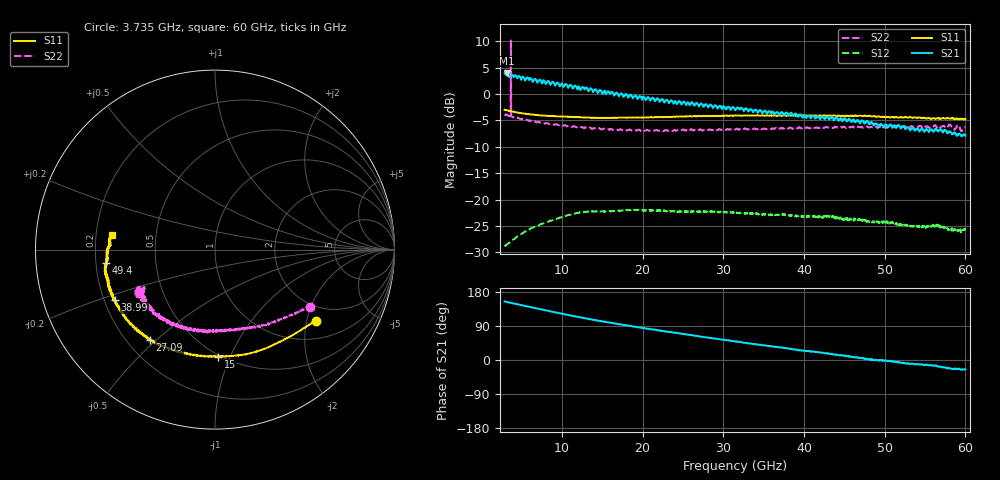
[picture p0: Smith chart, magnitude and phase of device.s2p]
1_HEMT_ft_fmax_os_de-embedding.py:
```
import numpy as np
import skrf as rf
import matplotlib.pyplot as plt
import os
from matplotlib.ticker import LogLocator, AutoMinorLocator
from skrf.calibration import OpenShort

# --- User settings ---
# --- Read S-parameters files ---

FET_device_file = 'device.s2p'   # Touchstone file of FET with CPW
FET_open_file = 'open.s2p'     # Touchstone file
FET_short_file = 'short.s2p'   # Touchstone file
# FET_thru_file = 'R2706-S1_RFG5V2_ONW_thru.s2p'         # Touchstone file
eps = 1e-12                                             # small floor to avoid log10(0)


def load_networks(device_file, open_file, short_file):
    fet_cpw = rf.Network(device_file)
    open_dummy = rf.Network(open_file)
    short_dummy = rf.Network(short_file)
    return fet_cpw, open_dummy, short_dummy


def deembed_open_short(fet_cpw, open_dummy, short_dummy):
    dm = OpenShort(dummy_open=open_dummy, dummy_short=short_dummy)
    return dm.deembed(fet_cpw)


def save_deembedded_network(network, device_file, suffix='_OSDeemb'):
    deembedded_stem = os.path.splitext(device_file)[0] + suffix
    network.write_touchstone(deembedded_stem)
    print(f"Saved de-embedded S2P: {deembedded_stem}.s2p")
    return deembedded_stem


def set_auto_title(ax, title_text, min_size=8, max_size=14, y=0.995, width_fraction=0.95):
    fig = ax.figure
    ax.set_title('')
    title_obj = fig.suptitle(title_text, fontsize=max_size, y=y)
    fig.canvas.draw()
    renderer = fig.canvas.get_renderer()
    available_width = fig.bbox.width * width_fraction

    font_size = float(max_size)
    while font_size > min_size:
        title_width = title_obj.get_window_extent(renderer=renderer).width
        if title_width <= available_width:
            break
        font_size -= 0.5
        title_obj.set_fontsize(font_size)
        fig.canvas.draw()

    return title_obj


# --- Function to analyze S-parameters, calculate ft and fmax, and plot results ---
def analyze_sparameters(network, title_prefix):
    """
    Performs S-parameter analysis on a given skrf Network object,
    calculates ft and fmax, and plots the results.

    Args:
        network (skrf.Network): The network object to analyze.
        title_prefix (str): A prefix for the plot titles and filenames.
    """
    freq = network.f                # frequency array in Hz
    # S-parameters: network.s shape = (n_freqs, 2, 2)
    s11 = network.s[:, 0, 0]
    s12 = network.s[:, 0, 1]
    s21 = network.s[:, 1, 0]
    s22 = network.s[:, 1, 1]

    # --- Convert S -> H parameters and compute |h21| in dB ---
    h_para = network.h              # returns (n_freqs, 2, 2) array of h-params
    h21 = h_para[:, 1, 0]
    abs_h21 = np.abs(h21)
    mag_h21 = 20.0 * np.log10(np.maximum(abs_h21, eps))

    # --- John Rollett stability factor K ---
    k_num = 1.0 - (np.abs(s11) ** 2) - (np.abs(s22) ** 2) + (np.abs(s11 * s22 - s12 * s21) ** 2)
    k_den = 2.0 * np.abs(s12 * s21)
    # avoid division by zero
    k_den_safe = np.where(k_den == 0, eps, k_den)
    k = k_num / k_den_safe

    # --- Mason's Unilateral Gain U ---
    # u_num = |(s21/s12) - 1|^2
    # u_den = 2*k*|s21/s12| - 2*Re(s21/s12)
    ratio = np.zeros_like(s21, dtype=complex)
    # avoid division by zero for s12
    s12_safe = np.where(np.abs(s12) < eps, eps + 0j, s12)
    ratio = s21 / s12_safe

    u_num = (np.abs(ratio - 1.0) ** 2)
    u_den = 2.0 * k * np.abs(ratio) - 2.0 * np.real(ratio)
    # avoid zeros or negative denominators that would blow up; keep safe floor
    u_den_safe = np.where(np.abs(u_den) < eps, eps, u_den)
    u = u_num / u_den_safe
    u_db = 10.0 * np.log10(np.maximum(u, eps))

    # --- Maximum Stable Gain (MSG) and Maximum Available Gain (MAG) ---
    msg = np.abs(ratio)

    # compute mag only where k >= 1 (to avoid sqrt of negative); else set nan
    mag = np.full_like(msg, np.nan)
    k_ge1 = k >= 1.0
    # compute using safe sqrt for k^2 - 1 (should be >= 0 here)
    sqrt_term = np.zeros_like(k)
    sqrt_term[k_ge1] = np.sqrt(k[k_ge1] ** 2 - 1.0)
    mag[k_ge1] = (np.abs(ratio[k_ge1])) * (k[k_ge1] - sqrt_term[k_ge1])

    # --- Choose MSG or MAG depending on k (same logic as MATLAB) ---
    msg_mag = np.where(k < 1.0, msg, mag)
    # if any entries are nan or <=0, clip to eps so log10 is defined
    msg_mag_db = 10.0 * np.log10(np.maximum(np.real(msg_mag), eps))

    # --- Fit a straight line to mag_h21 and find the x-intercept ---
    # Use a logarithmic scale for frequency for the fit
    log_freq = np.log10(freq)

    # Filter data for fitting within the specified frequency range (0.5 GHz to 3 GHz)
    freq_min_h21 = 0.5e9  # 0.5 GHz
    freq_max_h21 = 20.0e9  # 3 GHz
    freq_for_fit_h21 = freq[(freq >= freq_min_h21) & (freq <= freq_max_h21)]
    mag_h21_for_fit = mag_h21[(freq >= freq_min_h21) & (freq <= freq_max_h21)]
    log_freq_for_fit_h21 = np.log10(freq_for_fit_h21)

    # Fit a first-degree polynomial (straight line) to log_freq and mag_h21
    # polyfit returns [slope, intercept]
    slope_h21, intercept_h21 = np.polyfit(log_freq_for_fit_h21, mag_h21_for_fit, 1)

    # The equation of the line is y = slope * x + intercept
    # 0 = slope * x + intercept
    # x = -intercept / slope
    # Convert x from log10(freq) back to freq
    ft = 10**(-intercept_h21 / slope_h21)

    # Print the result for h21
    print(f"ft (|h21|) for {title_prefix}: {ft:.2e} Hz")

    # --- Fit a straight line to msg_mag_db and find the x-intercept ---
    # Filter msg_mag_db for fitting within the specified frequency range (8 GHz to 20 GHz)
    freq_min_msg_mag = 20.0e9  # 8 GHz
    freq_max_msg_mag = 40.0e9  # 20 GHz
    freq_for_fit_msg_mag = freq[(freq >= freq_min_msg_mag) & (freq <= freq_max_msg_mag)]
    msg_mag_db_for_fit = msg_mag_db[(freq >= freq_min_msg_mag) & (freq <= freq_max_msg_mag)]
    log_freq_for_fit_msg_mag = np.log10(freq_for_fit_msg_mag)

    # Fit a first-degree polynomial (straight line) to log_freq and msg_mag_db
    slope_msg_mag, intercept_msg_mag = np.polyfit(log_freq_for_fit_msg_mag, msg_mag_db_for_fit, 1)

    # Calculate the x-intercept for msg_mag_db
    fmax = 10**(-intercept_msg_mag / slope_msg_mag)

    # Print the result for msg_mag_db
    print(f"fmax (MSG/MAG) for {title_prefix}: {fmax:.2e} Hz")

    # --- Calculate y-values of the fitted line for |h21| for plotting ---
    fitted_line_h21_y = slope_h21 * log_freq + intercept_h21

    # --- Calculate y-values of the fitted line for MSG/MAG for plotting ---
    fitted_line_msg_mag_y = slope_msg_mag * log_freq + intercept_msg_mag

    # --- Plot: |h21|, U, MSG/MAG ---
    plt.figure(figsize=(5, 6))
    plt.semilogx(freq, mag_h21, linewidth=3, label='|h21| (dB)')
    plt.semilogx(freq, u_db, linewidth=3, label='U (dB)')
    plt.semilogx(freq, msg_mag_db, linewidth=3, label='MSG/MAG (dB)')
    plt.semilogx(freq, fitted_line_h21_y, '--', color='red', label='Fitted |h21| Line (0.5-3 GHz)')  # Add the fitted line for |h21|
    plt.semilogx(freq, fitted_line_msg_mag_y, '--', color='purple', label='Fitted MSG/MAG Line (8-20 GHz)')  # Add the fitted line for MSG/MAG with updated label
    plt.legend()
    ax_gain = plt.gca()
    ax_gain.minorticks_on()
    ax_gain.xaxis.set_major_locator(LogLocator(base=10.0, numticks=12))
    ax_gain.xaxis.set_minor_locator(LogLocator(base=10.0, subs=np.arange(2, 10) * 0.1, numticks=100))
    ax_gain.yaxis.set_minor_locator(AutoMinorLocator(5))
    ax_gain.grid(True, which='major', linestyle='--', linewidth=0.6)
    ax_gain.grid(True, which='minor', linestyle=':', linewidth=0.5, alpha=0.7)
    set_auto_title(ax_gain, f'{title_prefix} - Gain')
    plt.xlabel('Frequency (Hz)')
    plt.ylabel('Gain (dB)')
    plt.xlim([1e8, 1e11])
    plt.ylim([0, 50])
    plt.tight_layout(rect=[0.0, 0.0, 1.0, 0.97])
    plt.savefig(f'{title_prefix}_FtFmax.jpg', dpi=300)
    plt.show()

    # --- Plot: stability factor k ---
    plt.figure(figsize=(5, 6))
    plt.semilogx(freq, k, linewidth=2, label='k')
    plt.legend()
    plt.grid(True, which='both', linestyle='--', linewidth=0.5)
    ax_k = plt.gca()
    set_auto_title(ax_k, f'{title_prefix} - Stability Factor')
    plt.xlabel('Frequency (Hz)')
    plt.ylabel('Stability (k)')
    plt.xlim([1e8, 1e11])
    plt.ylim([0, 5])
    plt.tight_layout(rect=[0.0, 0.0, 1.0, 0.97])
    plt.savefig(f'{title_prefix}_K.jpg', dpi=300)
    plt.show()

def main():
    fet_cpw, open_dummy, short_dummy = load_networks(FET_device_file, FET_open_file, FET_short_file)
    fet_os = deembed_open_short(fet_cpw, open_dummy, short_dummy)
    save_deembedded_network(fet_os, FET_device_file, suffix='_OSDeemb')

    # Analyze and plot for FET_CPW (before de-embedding)
    analyze_sparameters(fet_cpw, FET_device_file + '_CPW')

    # Analyze and plot for FET_OS (after Open-Short de-embedding)
    analyze_sparameters(fet_os, FET_device_file + '_OSDeemb')


if __name__ == '__main__':
    main()
```
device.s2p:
!Correction: S11(Full 2 Port(1,2))
!S21(Full 2 Port(1,2))
!S12(Full 2 Port(1,2))
!S22(Full 2 Port(1,2))
!S2P File: Measurements: S11, S21, S12, S22:
# Hz S  RI  R 50
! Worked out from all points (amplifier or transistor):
!   1536 points, 2.917 GHz to 60 GHz, reference 50 ohm
!   highest |S21| = 4.0 dB at 3.178 GHz (marker M1)
!   |S21| within 3 dB of that: start of sweep to 11.89 GHz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
!   unconditionally stable (mu >= 1): start of sweep to 3.674 GHz; 3.722 GHz to end of sweep
!   at 12.44 GHz: K = 2.87, MAG = 4.3 dB, |S12| = -22.4 dB
!   at 31.48 GHz: K = 4.49, MAG = 0.2 dB, |S12| = -22.4 dB
!   at 60 GHz: K = 11.75, MAG = -4.9 dB, |S12| = -25.4 dB
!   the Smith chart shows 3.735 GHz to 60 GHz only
!   S11 on the Smith chart (normalised r, x): 3.735 GHz: 1.51, -2.27; 15 GHz: 0.49, -0.90; 27.09 GHz: 0.29, -0.48; 38.99 GHz: 0.24, -0.22; 49.4 GHz: 0.24, -0.06; 60 GHz: 0.27, +0.07
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2.917188e9  0.611 -0.3607  -1.425 0.6793  0.0273 0.0238  0.5662 -0.2948
3.1775e9  0.5973 -0.3731  -1.42 0.713  0.0284 0.0242  0.5619 -0.3025
3.735312e9  0.5609 -0.3964  -1.345 0.7565  0.0309 0.0258  0.531 -0.3195
3.958438e9  0.5474 -0.4034  -1.286 0.7565  0.0324 0.0266  0.5076 -0.3229
3.995625e9  0.5465 -0.4036  -1.256 0.7431  0.0323 0.0267  0.5082 -0.3229
1.500312e10  0.0191 -0.5959  -0.2095 0.9939  0.0764 0.0136  0.1542 -0.4376
2.708906e10  -0.3617 -0.5038  0.3668 0.6914  0.0765 -0.0118  -0.0595 -0.4587
3.147719e10  -0.4523 -0.4332  0.4602 0.5313  0.0727 -0.0206  -0.1359 -0.4416
3.898906e10  -0.5569 -0.2806  0.5795 0.3035  0.0658 -0.0275  -0.2386 -0.4131
4.940156e10  -0.606 -0.0759  0.5093 -0.00801  0.0511 -0.0325  -0.3645 -0.333
6e10  -0.5737 0.0824  0.3645 -0.1706  0.0431 -0.0319  -0.4245 -0.2331
